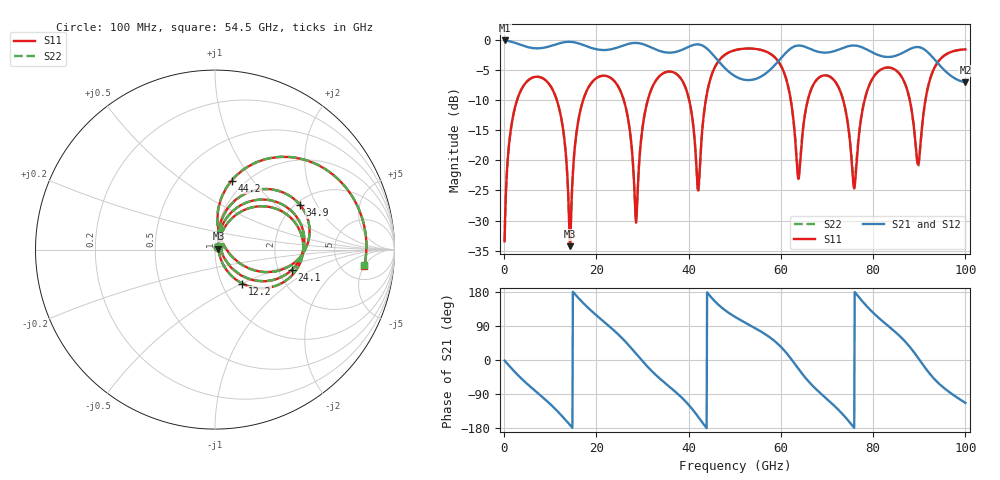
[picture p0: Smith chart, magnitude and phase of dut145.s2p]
! Touchstone file exported from HFSS 2026.1.0
!  File:  C:/ffzhzh/LocalFiles/Ansys_Project_Files/temp_train_TSV_RDL_145_1783462929_28540.aedt
!  Generated:  06:34:51 AM Jul  8, 2026
!  Design:  TSV_RDL
!  Project:  temp_train_TSV_RDL_145_1783462929_28540
! Variables:
!  h_bsmrdl = 4.55um
!  h_ox = 20um
!  h_rdl = 5um
!  h_sub = 50.66um
!  h_tmrdl = 3.33um
!  h_tsv = 50.66um
!  h_via = 3um
!  l_bsmrdl = 407.47um
!  l_sub = 4252.75um
!  l_tmrdl = 619.62um
!  m_sub = 200um
!  pitch = 52.36um
!  r_tsv = 14.91um
!  s_tmrdl = 10um
!  w_bsmrdl = 28.14um
!  w_sub = 500um
!  w_tmrdl = 22.48um
!  x_tsv_center1 = 630.86um
!  x_tsv_center2 = 1066.47um
!  x_tsv_center3 = 1708.57um
!  x_tsv_center4 = 2144.18um
!  x_tsv_center5 = 2786.28um
!  x_tsv_center6 = 3221.89um
# GHz S MA R 50.000000
! Terminal data exported
! Port[1] = TM_RDL1_1_T1
! Port[2] = TM_RDL5_1_T1
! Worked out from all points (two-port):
!   1000 points, 100 MHz to 100 GHz, reference 50 ohm
!   highest |S21| = -0.14 dB at 100 MHz (marker M1); lowest = -7.1 dB at 100 GHz (marker M2)
!   |S21| within 3 dB of the highest: start of sweep to 45.98 GHz; 59.95 GHz to 93.14 GHz (33.19 GHz wide, 43.4 % of centre)
!   lowest |S11| = -34.2 dB at 14.3 GHz (marker M3), VSWR 1.04, Z = 51.9 + j0.448 ohm
!   |S11| at or under -10 dB: 11.41 GHz to 17.14 GHz (5.733 GHz wide, 40.2 % of centre); 25.93 GHz to 31.15 GHz (5.221 GHz wide, 18.3 % of centre); 73.49 GHz to 78.15 GHz (4.664 GHz wide, 6.15 % of centre) (the widest 3 of 7)
!   |S22| runs from -34.1 to -1.5 dB; largest |S21 - S12| = 3.3e-12
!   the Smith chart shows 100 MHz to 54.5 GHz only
!   S11 on the Smith chart (normalised r, x): 100 MHz: 1.03, +0.03; 12.2 GHz: 1.25, -0.50; 24.1 GHz: 2.37, -0.66; 34.9 GHz: 2.11, +1.47; 44.2 GHz: 0.87, +0.79; 54.5 GHz: 8.24, -4.99
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0.1  0.02133 39.9  0.9839 -1.5  0.9839 -1.5  0.02133 39.9
! Gamma 0 0 0 0
! Port Impedance 50 0 50 0
3.8  0.3906 37.2  0.8979 -49.6  0.8979 -49.6  0.3906 37.2
12.2  0.2422 -51.2  0.9365 -143.4  0.9365 -143.4  0.2422 -51.1
14.3  0.01943 12.8  0.9588 -171.9  0.9588 -171.9  0.01977 13.0
16.8  0.2855 59.9  0.9126 154.7  0.9126 154.7  0.2856 59.9
24.1  0.4434 -14.6  0.8487 74.8  0.8487 74.8  0.4435 -14.4
28.6  0.03044 15.9  0.9386 16.6  0.9386 16.6  0.03246 15.9
33.4  0.4853 42.2  0.8132 -45.2  0.8132 -45.2  0.4853 42.0
34.9  0.5355 27.6  0.7847 -61.1  0.7847 -61.1  0.5355 27.4
42  0.05697 16.8  0.9133 -148.8  0.9133 -148.8  0.05543 16.6
44.2  0.3959 76.3  0.8271 175.4  0.8271 175.4  0.3959 76.6
50.1  0.8187 21.5  0.4966 113.4  0.4966 113.4  0.8188 21.7
54.5  0.8373 -6.2  0.4719 83.5  0.4719 83.5  0.8374 -6.0
60.7  0.5306 -57.9  0.7503 25.6  0.7503 25.6  0.531 -57.3
63.8  0.07005 -22.9  0.8932 -23.2  0.8932 -23.2  0.07471 -22.5
66.7  0.398 18.3  0.8271 -65.7  0.8271 -65.7  0.3988 18.1
72.5  0.4021 -37.6  0.8256 -131.8  0.8256 -131.8  0.4029 -36.9
75.7  0.06452 -22.7  0.8938 -176.1  0.8938 -176.1  0.07131 -20.3
83.4  0.5868 -1.4  0.7184 88.5  0.7184 88.5  0.5869 -1.9
90  0.1046 27.7  0.8652 1.1  0.8652 1.1  0.1024 28.2
93.1  0.5634 33.8  0.6992 -47.9  0.6992 -47.9  0.5634 34.0
100  0.8294 -24.2  0.4431 -113.3  0.4431 -113.3  0.8298 -23.9
